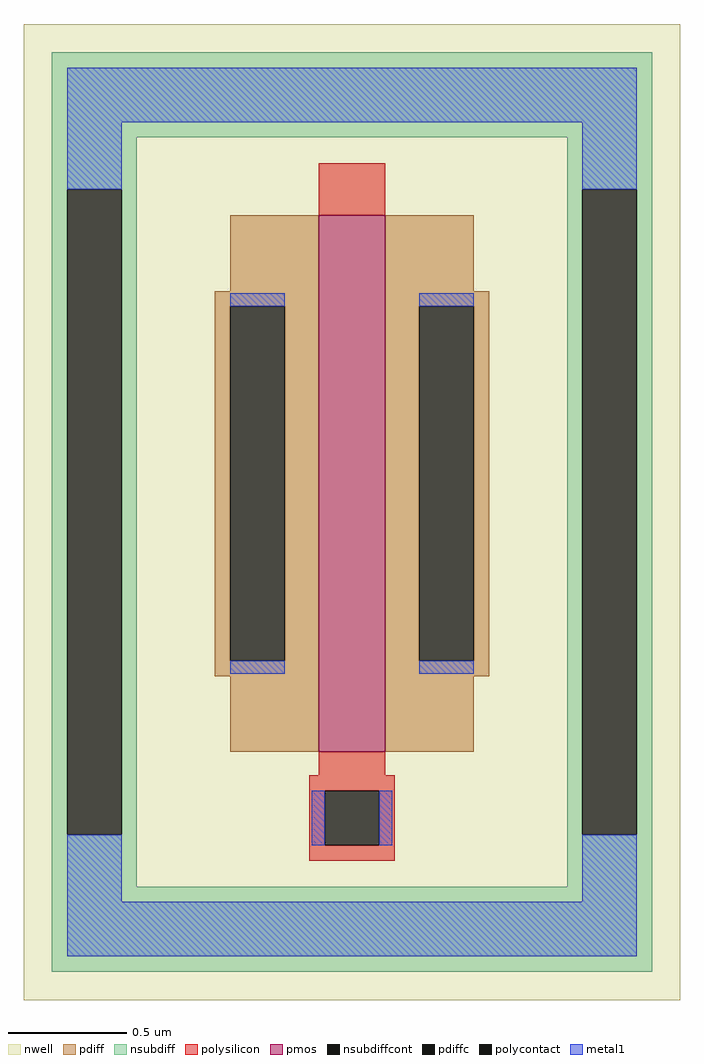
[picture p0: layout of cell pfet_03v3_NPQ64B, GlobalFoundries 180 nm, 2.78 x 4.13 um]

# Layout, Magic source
magic
tech gf180mcuD
magscale 1 10
<< nwell >>
rect -278 -413 278 413
<< pmos >>
rect -28 -203 28 251
<< pdiff >>
rect -103 187 -28 251
rect -116 174 -28 187
rect -116 -126 -103 174
rect -57 -126 -28 174
rect -116 -139 -28 -126
rect -103 -203 -28 -139
rect 28 187 103 251
rect 28 174 116 187
rect 28 -126 57 174
rect 103 -126 116 174
rect 28 -139 116 -126
rect 28 -203 103 -139
<< pdiffc >>
rect -103 -126 -57 174
rect 57 -126 103 174
<< nsubdiff >>
rect -254 317 254 389
rect -254 273 -182 317
rect -254 -273 -241 273
rect -195 -273 -182 273
rect 182 273 254 317
rect -254 -317 -182 -273
rect 182 -273 195 273
rect 241 -273 254 273
rect 182 -317 254 -273
rect -254 -389 254 -317
<< nsubdiffcont >>
rect -241 -273 -195 273
rect 195 -273 241 273
<< polysilicon >>
rect -28 251 28 295
rect -28 -223 28 -203
rect -36 -236 36 -223
rect -36 -282 -23 -236
rect 23 -282 36 -236
rect -36 -295 36 -282
<< polycontact >>
rect -23 -282 23 -236
<< metal1 >>
rect -241 330 241 376
rect -241 273 -195 330
rect 195 273 241 330
rect -103 174 -57 185
rect -103 -137 -57 -126
rect 57 174 103 185
rect 57 -137 103 -126
rect -241 -330 -195 -273
rect -34 -282 -23 -236
rect 23 -282 34 -236
rect 195 -330 241 -273
rect -241 -376 241 -330
<< properties >>
string FIXED_BBOX -218 -353 218 353
string gencell pfet_03v3
string library gf180mcu
string parameters w 2.27 l 0.280 m 1 nf 1 diffcov 70 polycov 100 guard 1 glc 1 grc 1 gtc 0 gbc 0 tbcov 100 rlcov 100 topc 0 botc 1 poverlap 0 doverlap 1 lmin 0.28 wmin 0.22 class mosfet full_metal 1 compatible {pfet_03v3 pfet_05v0 pfet_06v0}
<< end >>
